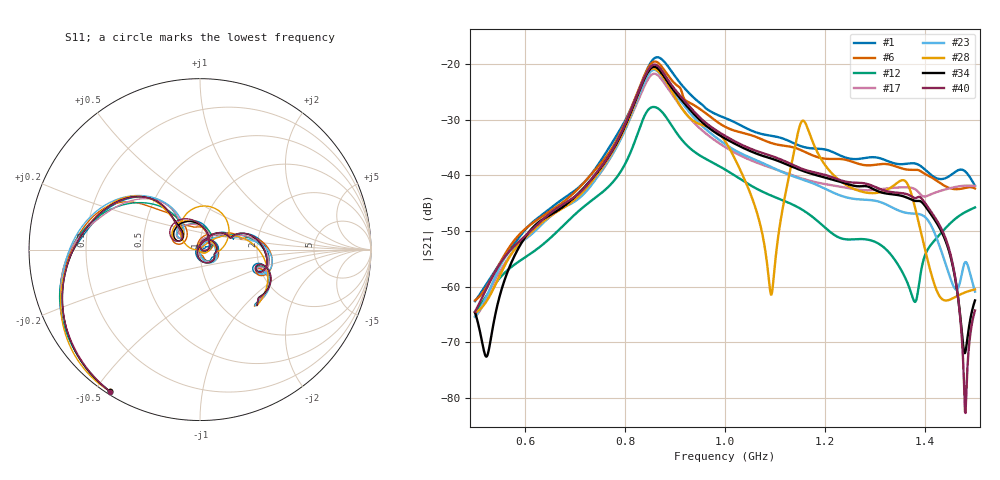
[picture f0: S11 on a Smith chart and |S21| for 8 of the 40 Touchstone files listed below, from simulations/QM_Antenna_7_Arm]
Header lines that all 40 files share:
! TOUCHSTONE file generated by CST MICROWAVE STUDIO
! Header version: 2018
! Port assignment regex: !\s*Touchstone port\s*([0-9]+)\s*=\s*(CST MWS port|CST DS port)\s*([0-9]+|Zmin|Zmax)\s*\(\"(.*)\"\)(\s*mode\s*([0-9]+))?.*
! Touchstone port assignment:
! Touchstone port 1 = CST MWS port 1 ("")
! Touchstone port 2 = CST MWS port 2 ("")
# GHz S DB R 50
Fixed: L_HA = 400, MT = 2.54, Rad_Dielectric = 30, Rad_Lower = 7.3, Rad_Upper = 30, a_HA = 580, a_WG = 246, b_HA = 500, b_WG = 121, c_HA = 0, c_WG = 187, d_feed = 85, h_feed = 15, h_lower = 18, h_upper = 40
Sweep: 500 MHz to 1.5 GHz
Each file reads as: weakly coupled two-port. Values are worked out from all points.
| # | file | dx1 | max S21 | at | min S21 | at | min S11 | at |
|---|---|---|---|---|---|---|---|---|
| 1 | 0_41.s2p | 865.8 | -18.74 dB | 865 MHz | -62.6 dB | 500 MHz | -34.6 dB | 930 MHz |
| 2 | 0_42.s2p | 883.12 | -18.88 dB | 861 MHz | -62.5 dB | 500 MHz | -40.4 dB | 930 MHz |
| 3 | 0_43.s2p | 900.44 | -18.98 dB | 860 MHz | -62.5 dB | 500 MHz | -45.5 dB | 920 MHz |
| 4 | 0_44.s2p | 917.76 | -19.13 dB | 860 MHz | -62.4 dB | 500 MHz | -54.6 dB | 916 MHz |
| 5 | 0_45.s2p | 935.08 | -19.29 dB | 860 MHz | -62.4 dB | 500 MHz | -62.8 dB | 912 MHz |
| 6 | 0_46.s2p | 952.4 | -19.51 dB | 860 MHz | -62.5 dB | 500 MHz | -58.1 dB | 905 MHz |
| 7 | 0_47.s2p | 969.72 | -19.73 dB | 859 MHz | -64.7 dB | 520 MHz | -40.5 dB | 904 MHz |
| 8 | 0_48.s2p | 987.04 | -19.92 dB | 859 MHz | -62.7 dB | 500 MHz | -38.2 dB | 901 MHz |
| 9 | 0_49.s2p | 1004.36 | -20.00 dB | 863 MHz | -62.9 dB | 500 MHz | -34.7 dB | 899 MHz |
| 10 | 0_50.s2p | 1021.68 | -20.22 dB | 860 MHz | -63.0 dB | 500 MHz | -38.1 dB | 1.132 GHz |
| 11 | 0_51.s2p | 1039 | -20.32 dB | 860 MHz | -63.1 dB | 500 MHz | -48.2 dB | 1.131 GHz |
| 12 | 1_1.s2p | 173 | -27.69 dB | 857 MHz | -64.6 dB | 500 MHz | -48.9 dB | 1.135 GHz |
| 13 | 1_2.s2p | 346 | -23.05 dB | 858 MHz | -65.1 dB | 500 MHz | -55.9 dB | 916 MHz |
| 14 | 1_3.s2p | 520 | -21.78 dB | 857 MHz | -64.3 dB | 500 MHz | -66.5 dB | 919 MHz |
| 15 | 1_4.s2p | 693 | -21.64 dB | 858 MHz | -65.1 dB | 500 MHz | -48.5 dB | 920 MHz |
| 16 | 1_5.s2p | 866 | -21.56 dB | 858 MHz | -65.0 dB | 500 MHz | -42.5 dB | 918 MHz |
| 17 | 1_6.s2p | 1039 | -21.70 dB | 859 MHz | -65.4 dB | 500 MHz | -38.9 dB | 1.139 GHz |
| 18 | 2_1.s2p | 173 | -26.57 dB | 859 MHz | -63.9 dB | 500 MHz | -43.9 dB | 916 MHz |
| 19 | 2_2.s2p | 346 | -22.39 dB | 859 MHz | -64.5 dB | 500 MHz | -58.5 dB | 921 MHz |
| 20 | 2_3.s2p | 520 | -21.16 dB | 862 MHz | -66.3 dB | 523 MHz | -42.6 dB | 924 MHz |
| 21 | 2_4.s2p | 693 | -21.26 dB | 862 MHz | -64.9 dB | 500 MHz | -50.0 dB | 922 MHz |
| 22 | 2_5.s2p | 866 | -21.16 dB | 858 MHz | -64.8 dB | 500 MHz | -44.9 dB | 919 MHz |
| 23 | 2_6.s2p | 1039 | -21.01 dB | 858 MHz | -65.4 dB | 500 MHz | -44.6 dB | 1.135 GHz |
| 24 | 3_1.s2p | 173 | -25.29 dB | 858 MHz | -63.3 dB | 500 MHz | -44.6 dB | 1.133 GHz |
| 25 | 3_2.s2p | 346 | -21.46 dB | 858 MHz | -68.2 dB | 1.432 GHz | -61.9 dB | 1.138 GHz |
| 26 | 3_3.s2p | 520 | -20.63 dB | 858 MHz | -63.8 dB | 500 MHz | -67.1 dB | 923 MHz |
| 27 | 3_4.s2p | 693 | -20.66 dB | 858 MHz | -66.8 dB | 529 MHz | -49.7 dB | 923 MHz |
| 28 | 3_5.s2p | 866 | -20.78 dB | 856 MHz | -64.7 dB | 500 MHz | -45.1 dB | 1.137 GHz |
| 29 | 3_6.s2p | 1039 | -20.73 dB | 859 MHz | -65.3 dB | 500 MHz | -45.6 dB | 918 MHz |
| 30 | 4_1.s2p | 173 | -24.09 dB | 858 MHz | -62.7 dB | 500 MHz | -43.9 dB | 921 MHz |
| 31 | 4_2.s2p | 346 | -20.67 dB | 857 MHz | -63.3 dB | 500 MHz | -53.4 dB | 1.138 GHz |
| 32 | 4_3.s2p | 520 | -20.03 dB | 858 MHz | -63.6 dB | 500 MHz | -58.8 dB | 925 MHz |
| 33 | 4_4.s2p | 693 | -20.32 dB | 858 MHz | -64.3 dB | 500 MHz | -45.5 dB | 924 MHz |
| 34 | 4_5.s2p | 866 | -20.45 dB | 858 MHz | -72.6 dB | 523 MHz | -43.2 dB | 921 MHz |
| 35 | 4_6.s2p | 1039 | -20.51 dB | 858 MHz | -65.8 dB | 528 MHz | -60.9 dB | 1.137 GHz |
| 36 | 5_1.s2p | 173 | -22.99 dB | 857 MHz | -62.0 dB | 500 MHz | -44.4 dB | 924 MHz |
| 37 | 5_2.s2p | 346 | -19.82 dB | 855 MHz | -62.6 dB | 500 MHz | -50.3 dB | 925 MHz |
| 38 | 5_3.s2p | 520 | -19.60 dB | 862 MHz | -63.5 dB | 500 MHz | -63.4 dB | 928 MHz |
| 39 | 5_4.s2p | 693 | -19.84 dB | 858 MHz | -63.9 dB | 500 MHz | -44.9 dB | 926 MHz |
| 40 | 5_5.s2p | 866 | -20.07 dB | 859 MHz | -82.7 dB | 1.481 GHz | -42.5 dB | 923 MHz |
